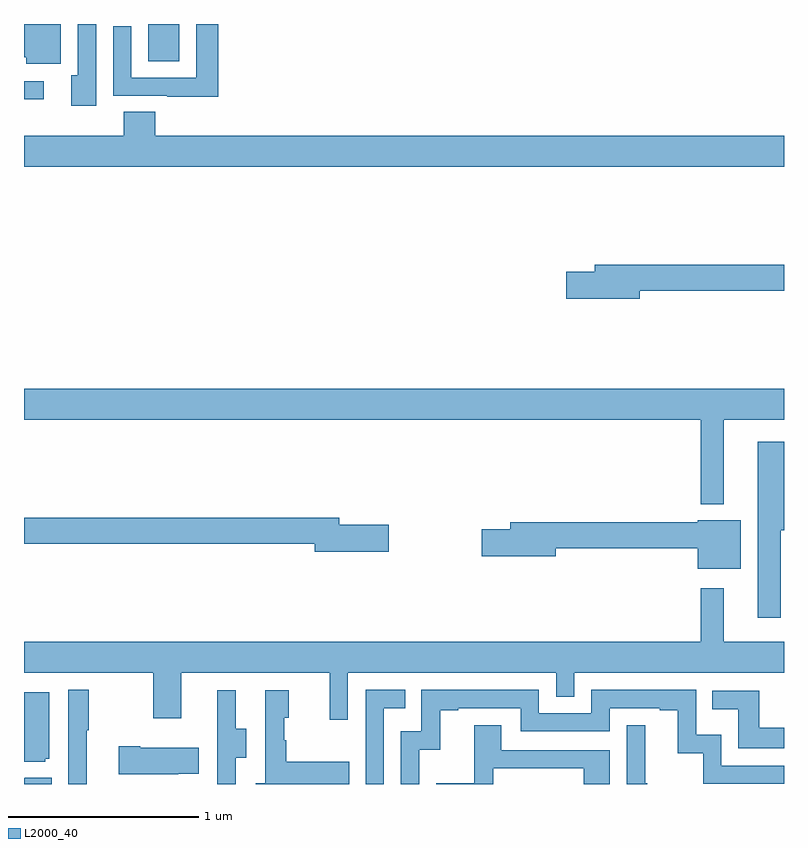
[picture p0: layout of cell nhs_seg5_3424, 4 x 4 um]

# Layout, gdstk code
import gdstk
lib = gdstk.Library(unit=1e-6, precision=1e-09)
def R(c, l, rs):  # rectangles x0, y0, x1, y1
    for r in rs: c.add(gdstk.rectangle(r[:2], r[2:], *l))
def P(c, l, *ps):  # polygons
    for p in ps: c.add(gdstk.Polygon(p, *l))
L2000_40 = (2000, 40)

nhs_seg5_3424 = lib.new_cell('nhs_seg5_3424')
R(nhs_seg5_3424, L2000_40, [(311,902.402,311.104,902.499), (311.654,902.602,311.818,902.799)])
P(nhs_seg5_3424, L2000_40, [(311.379,902.799),(311.283,902.799),(311.283,902.53),(311.249,902.53),(311.249,902.37),(311.379,902.37)],
  [(311.194,902.799),(311,902.799),(311,902.625),(311.013,902.625),(311.013,902.589),(311.194,902.589)],
  [(312.023,902.799),(311.907,902.799),(311.907,902.517),(311.565,902.517),(311.565,902.788),(311.469,902.788),(311.469,902.421),(311.753,902.421),(311.753,902.417),(312.023,902.417)],
  [(315,902.212),(311.69,902.212),(311.69,902.336),(311.525,902.336),(311.525,902.212),(311,902.212),(311,902.048),(315,902.048)],
  [(314.242,901.396),(315,901.396),(315,901.532),(314.003,901.532),(314.003,901.496),(313.854,901.496),(313.854,901.354),(314.242,901.354)],
  [(314.683,900.716),(315,900.716),(315,900.88),(311,900.88),(311,900.716),(314.562,900.716),(314.562,900.272),(314.683,900.272)],
  [(314.983,900.134),(315,900.134),(315,900.601),(314.861,900.601),(314.861,899.673),(314.983,899.673)],
  [(312.919,900.164),(312.658,900.164),(312.658,900.2),(311,900.2),(311,900.064),(312.53,900.064),(312.53,900.022),(312.919,900.022)],
  [(314.773,900.187),(314.546,900.187),(314.546,900.176),(313.559,900.176),(313.559,900.14),(313.41,900.14),(313.41,899.998),(313.798,899.998),(313.798,900.04),(314.546,900.04),(314.546,899.933),(314.773,899.933)],
  [(312.705,899.384),(313.8,899.384),(313.8,899.257),(313.896,899.257),(313.896,899.384),(315,899.384),(315,899.548),(314.683,899.548),(314.683,899.83),(314.562,899.83),(314.562,899.548),(311,899.548),(311,899.384),(311.68,899.384),(311.68,899.145),(311.827,899.145),(311.827,899.384),(312.608,899.384),(312.608,899.136),(312.705,899.136)],
  [(311.329,899.083),(311.341,899.083),(311.341,899.296),(311.232,899.296),(311.232,898.799),(311.329,898.799)],
  [(312.894,899.199),(313.007,899.199),(313.007,899.295),(312.798,899.295),(312.798,898.799),(312.894,898.799)],
  [(313.08,898.979),(313.19,898.979),(313.19,899.187),(313.285,899.187),(313.285,899.199),(313.614,899.199),(313.614,899.076),(314.082,899.076),(314.082,899.199),(314.345,899.199),(314.345,899.187),(314.441,899.187),(314.441,898.961),(314.574,898.961),(314.574,898.8),(315,898.8),(315,898.896),(314.67,898.896),(314.67,899.059),(314.538,899.059),(314.538,899.295),(313.986,899.295),(313.986,899.172),(313.71,899.172),(313.71,899.295),(313.092,899.295),(313.092,899.076),(312.984,899.076),(312.984,898.799),(313.08,898.799)],
  [(312.114,898.936),(312.169,898.936),(312.169,899.091),(312.115,899.091),(312.115,899.293),(312.017,899.293),(312.017,899.079),(312.018,899.079),(312.018,898.799),(312.114,898.799)],
  [(312.713,898.915),(312.379,898.915),(312.379,899.03),(312.369,899.03),(312.369,899.148),(312.394,899.148),(312.394,899.293),(312.27,899.293),(312.27,898.802),(312.219,898.802),(312.219,898.799),(312.713,898.799)],
  [(315,899.095),(314.869,899.095),(314.869,899.289),(314.623,899.289),(314.623,899.192),(314.758,899.192),(314.758,898.986),(315,898.986)],
  [(311.112,898.932),(311.134,898.932),(311.134,899.281),(311,899.281),(311,898.917),(311.112,898.917)],
  [(314.281,898.804),(314.269,898.804),(314.269,899.107),(314.172,899.107),(314.172,898.799),(314.281,898.799)],
  [(313.471,898.881),(313.945,898.881),(313.945,898.799),(314.082,898.799),(314.082,898.977),(313.513,898.977),(313.513,899.107),(313.369,899.107),(313.369,898.804),(313.17,898.804),(313.17,898.799),(313.471,898.799)],
  [(311.813,898.853),(311.921,898.853),(311.921,898.99),(311.611,898.99),(311.611,898.998),(311.499,898.998),(311.499,898.85),(311.813,898.85)],
  [(311.147,898.832),(311.003,898.832),(311,898.829),(311,898.799),(311.147,898.799)])

lib.write_gds('nhs_seg5_3424.gds')
